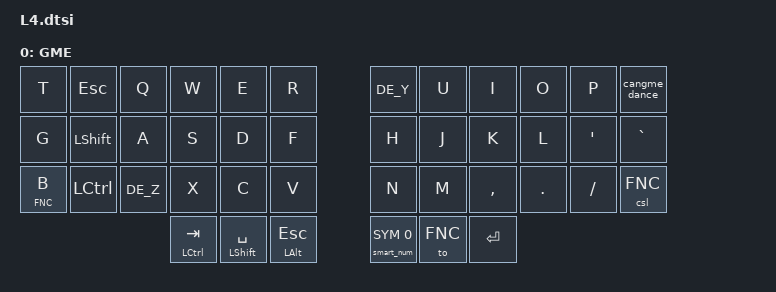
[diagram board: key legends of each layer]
/**
 * Gaming Layer
 */

/ {
  keymap {
    compatible = "zmk,keymap";

    layer_4 {
      label = "GME";
      bindings = <
// ╭───────────────┬───────────────┬───────────────┬───────────────┬───────────────┬───────────────╮   ╭───────────────┬───────────────┬───────────────┬───────────────┬───────────────┬───────────────╮
//  0               1               2               3               4               5                   6               7               8               9               10              11
    &kp T           &kp ESC         &kp Q           &kp W           &kp E           &kp R               &kp DE_Y        &kp U           &kp I           &kp O           &kp P           &cangme_dance
// ├───────────────├───────────────┼───────────────┼───────────────┼───────────────┼───────────────┤   ├───────────────├───────────────┼───────────────┼───────────────┼───────────────┼───────────────┤
//  12              13              14              15              16              17                  18              19              20              21              22              23
    &kp G           &kp LSHFT       &kp A           &kp S           &kp D           &kp F               &kp H           &kp J           &kp K           &kp L           &kp SQT         &kp GRAVE
// ├───────────────├───────────────┼───────────────┼───────────────┼───────────────┼───────────────┤   ├───────────────├───────────────┼───────────────┼───────────────┼───────────────┼───────────────┤
//  24              25              26              27              28              29                  30              31              32              33              34              35
    &lt FNC B       &kp LCTRL       &kp DE_Z        &kp X           &kp C           &kp V               &kp N           &kp M           &kp COMMA       &kp DOT         &kp SLASH       &csl FNC
// ╰───────────────┴───────────────┴───────────────┼───────────────┼───────────────┼───────────────┤   ├───────────────├───────────────┼───────────────┼───────────────┴───────────────┴───────────────╯
//                                                  36              37              38                  39              40              41
                                                    &mt LCTRL TAB   &mt LSHFT SPACE &mt LALT ESC        &smart_num SYM 0 &to FNC        &kp ENTER
//                                                 ╰───────────────┴───────────────┴───────────────╯   ╰───────────────┴───────────────┴───────────────╯
      >;
    };
  };
};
